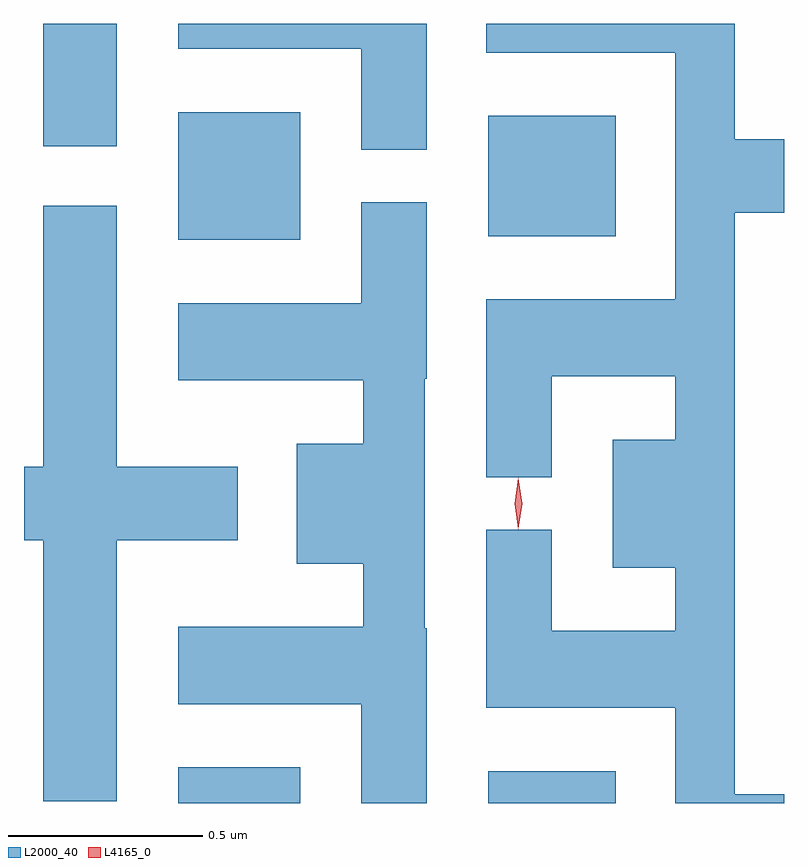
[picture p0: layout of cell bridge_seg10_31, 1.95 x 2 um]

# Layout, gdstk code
import gdstk
lib = gdstk.Library(unit=1e-6, precision=1e-09)
def R(c, l, rs):  # rectangles x0, y0, x1, y1
    for r in rs: c.add(gdstk.rectangle(r[:2], r[2:], *l))
def P(c, l, *ps):  # polygons
    for p in ps: c.add(gdstk.Polygon(p, *l))
L2000_40 = (2000, 40)
L4165_0 = (4165, 0)

bridge_seg10_31 = lib.new_cell('bridge_seg10_31')
R(bridge_seg10_31, L2000_40, [(1786.791,2178.481,1787.104,2178.574), (1787.586,2178.481,1787.914,2178.564), (1786.791,2179.926,1787.104,2180.254), (1787.586,2179.936,1787.914,2180.244), (1786.446,2180.166,1786.634,2180.481)])
P(bridge_seg10_31, L2000_40, [(1788.345,2178.504),(1788.219,2178.504),(1788.219,2179.996),(1788.345,2179.996),(1788.345,2180.184),(1788.219,2180.184),(1788.219,2180.481),(1787.581,2180.481),(1787.581,2180.406),(1788.066,2180.406),(1788.066,2179.774),(1787.581,2179.774),(1787.581,2179.318),(1787.749,2179.318),(1787.749,2179.576),(1788.066,2179.576),(1788.066,2179.414),(1787.906,2179.414),(1787.906,2179.086),(1788.066,2179.086),(1788.066,2178.924),(1787.749,2178.924),(1787.749,2179.183),(1787.581,2179.183),(1787.581,2178.726),(1788.066,2178.726),(1788.066,2178.481),(1788.345,2178.481)],
  [(1787.429,2180.481),(1786.791,2180.481),(1786.791,2180.416),(1787.261,2180.416),(1787.261,2180.158),(1787.429,2180.158)],
  [(1787.429,2178.93),(1787.424,2178.93),(1787.424,2179.57),(1787.429,2179.57),(1787.429,2180.023),(1787.261,2180.023),(1787.261,2179.764),(1786.791,2179.764),(1786.791,2179.566),(1787.266,2179.566),(1787.266,2179.404),(1787.096,2179.404),(1787.096,2179.096),(1787.266,2179.096),(1787.266,2178.934),(1786.791,2178.934),(1786.791,2178.736),(1787.261,2178.736),(1787.261,2178.481),(1787.429,2178.481)],
  [(1786.634,2179.156),(1786.944,2179.156),(1786.944,2179.344),(1786.634,2179.344),(1786.634,2180.014),(1786.446,2180.014),(1786.446,2179.344),(1786.396,2179.344),(1786.396,2179.156),(1786.446,2179.156),(1786.446,2178.486),(1786.634,2178.486)])
P(bridge_seg10_31, L4165_0, [(1787.664,2179.184),(1787.663,2179.185),(1787.654,2179.25),(1787.663,2179.315),(1787.664,2179.316),(1787.664,2179.315),(1787.674,2179.25),(1787.664,2179.185)])

lib.write_gds('bridge_seg10_31.gds')
